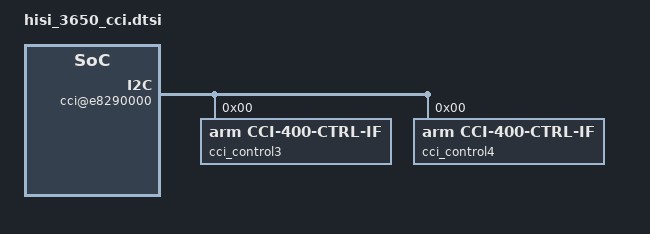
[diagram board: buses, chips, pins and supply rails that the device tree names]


/{
	cci@e8290000 {
		compatible = "arm,cci-400";
		#address-cells = <2>;
		#size-cells = <2>;
		reg = <0x0 0xe8290000 0x0 0x9000>;
		ranges = <0x0 0x4000 0x0 0xe8294000 0x0 0x1000>,
			<0x0 0x5000 0x0 0xe8295000 0x0 0x1000>;

		speculative-disable = <0x70001>;
		/*A53 Interface*/
		cci_control3: slave-if@4000 {
			compatible = "arm,cci-400-ctrl-if";
			interface-type = "ace";
			reg = <0x0 0x4000 0x0 0x1000>;
			qos-control = <0x310003>;
			regulator-target = <0x80007>;
			scalar = <0x707>;
			qos-range = <0x3010301>;
		};
		/*Maia Interface*/
		cci_control4: slave-if@5000 {
			compatible = "arm,cci-400-ctrl-if";
			interface-type = "ace";
			reg = <0x0 0x5000 0x0 0x1000>;
			qos-control = <0x310003>;
			regulator-target = <0x70006>;
			scalar = <0x707>;
			qos-range = <0x3010301>;
		};
	};
};
